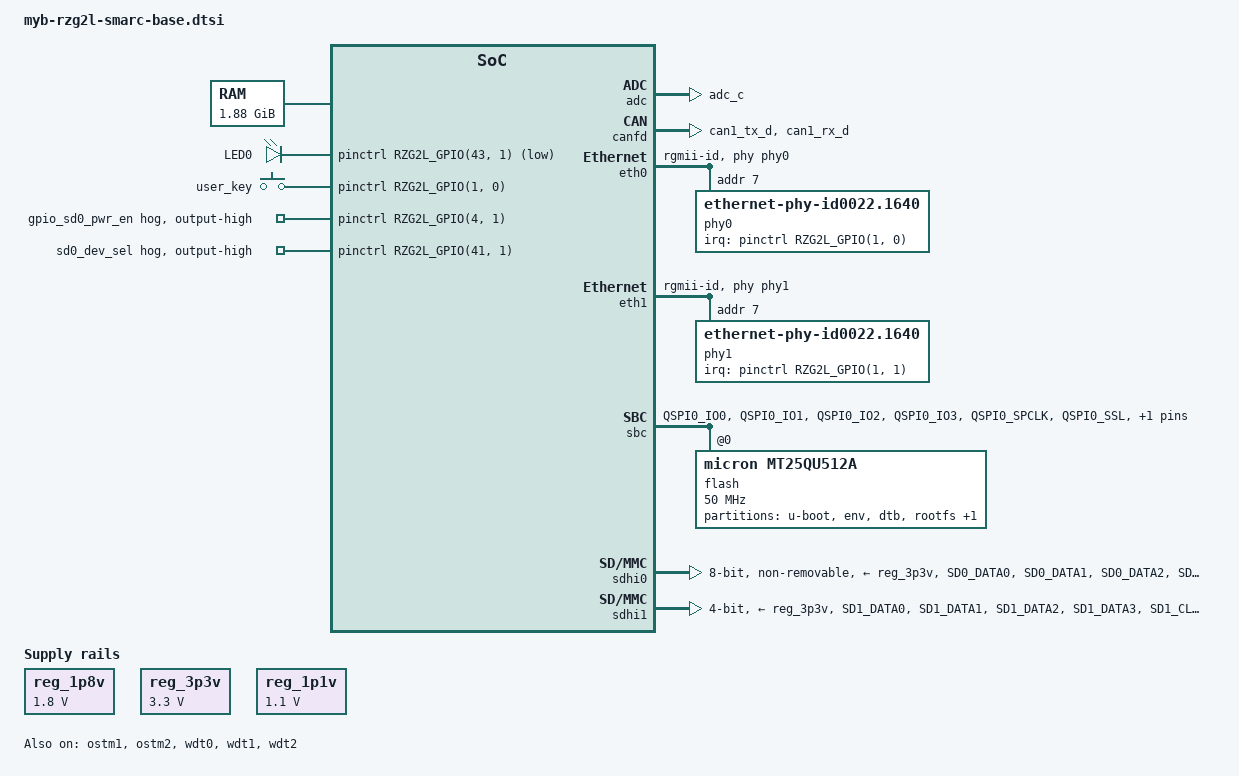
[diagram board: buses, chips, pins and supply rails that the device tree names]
// SPDX-License-Identifier: (GPL-2.0-only OR BSD-2-Clause)
/*
 * Device Tree Source for the RZ/{G2L,V2L} SMARC SOM common parts
 *
 * Copyright (C) 2022 MYiR Electronics Corp.
 */

#include <dt-bindings/gpio/gpio.h>
#include <dt-bindings/pinctrl/rzg2l-pinctrl.h>
#include <dt-bindings/input/input.h>

/* Select function support POEGD (1: enabled, 0 : disabled) */

/ {
	aliases {
		ethernet0 = &eth0;
		ethernet1 = &eth1;
	};

	chosen {
		bootargs = "ignore_loglevel rw root=/dev/nfs ip=on";
	};

	memory@48000000 {
		device_type = "memory";
		/* first 128MB is reserved for secure area. */
		reg = <0x0 0x48000000 0x0 0x78000000>;
	};

	reserved-memory {
		#address-cells = <2>;
		#size-cells = <2>;
		ranges;

		global_cma: linux,cma@58000000 {
			compatible = "shared-dma-pool";
			linux,cma-default;
			reusable;
			reg = <0x0 0x58000000 0x0 0x10000000>;
		};
		mmp_reserved: linux,multimedia {
			compatible = "shared-dma-pool";
			reusable;
			reg = <0x00000000 0x68000000 0x0 0x8000000>;
		};
	};

	mmngr {
		compatible = "renesas,mmngr";
		memory-region = <&mmp_reserved>;
	};

	mmngrbuf {
		compatible = "renesas,mmngrbuf";
	};

	vspm_if {
		compatible = "renesas,vspm_if";
	};

	reg_1p8v: regulator0 {
		compatible = "regulator-fixed";
		regulator-name = "fixed-1.8V";
		regulator-min-microvolt = <1800000>;
		regulator-max-microvolt = <1800000>;
		regulator-boot-on;
		regulator-always-on;
	};

	reg_3p3v: regulator1 {
		compatible = "regulator-fixed";
		regulator-name = "fixed-3.3V";
		regulator-min-microvolt = <3300000>;
		regulator-max-microvolt = <3300000>;
		regulator-boot-on;
		regulator-always-on;
	};

	reg_1p1v: regulator-vdd-core {
		compatible = "regulator-fixed";
		regulator-name = "fixed-1.1V";
		regulator-min-microvolt = <1100000>;
		regulator-max-microvolt = <1100000>;
		regulator-boot-on;
		regulator-always-on;
	};

	leds {
		compatible = "gpio-leds";

		led0 {
			gpios = <&pinctrl RZG2L_GPIO(43, 1) GPIO_ACTIVE_LOW>;
			label = "LED0";
			default-state = "on";
			linux,default-trigger = "heartbeat";
		};
	};

	keyboard {
		compatible = "gpio-keys";
		status = "okay";

		key-1 {
			gpios = <&pinctrl RZG2L_GPIO(1, 0) GPIO_ACTIVE_HIGH>;
			linux,code = <KEY_1>;
			label = "user_key";
			wakeup-source;
		};
	};


};

&adc {
	pinctrl-0 = <&adc_pins>;
	pinctrl-names = "default";
	status = "okay";

	/delete-node/ channel@4;
	/delete-node/ channel@5;
	/delete-node/ channel@6;
	/delete-node/ channel@7;
};

&canfd {
        pinctrl-0 = <&canfd1_pins>;
        pinctrl-names = "default";
        status = "okay";

        channel0 {
                status = "disabled";
        };

        channel1 {
                status = "okay";
        };
};

&eth0 {
	pinctrl-0 = <&eth0_pins>;
	pinctrl-names = "default";
	phy-handle = <&phy0>;
	phy-mode = "rgmii-id";
	status = "okay";

	phy0: ethernet-phy@7 {
		compatible = "ethernet-phy-id0022.1640",
			     "ethernet-phy-ieee802.3-c22";
		reg = <7>;
		rxc-skew-psec = <2400>;
		txc-skew-psec = <2400>;
		rxdv-skew-psec = <0>;
		txdv-skew-psec = <0>;
		rxd0-skew-psec = <0>;
		rxd1-skew-psec = <0>;
		rxd2-skew-psec = <0>;
		rxd3-skew-psec = <0>;
		txd0-skew-psec = <0>;
		txd1-skew-psec = <0>;
		txd2-skew-psec = <0>;
		txd3-skew-psec = <0>;

		interrupt-parent = <&pinctrl>;
		interrupts = <RZG2L_GPIO(1, 0) IRQ_TYPE_LEVEL_LOW>;
	};
};

&eth1 {
	pinctrl-0 = <&eth1_pins>;
	pinctrl-names = "default";
	phy-handle = <&phy1>;
	phy-mode = "rgmii-id";
	status = "okay";

	phy1: ethernet-phy@7 {
		compatible = "ethernet-phy-id0022.1640",
			     "ethernet-phy-ieee802.3-c22";
		reg = <7>;
		rxc-skew-psec = <2400>;
		txc-skew-psec = <2400>;
		rxdv-skew-psec = <0>;
		txdv-skew-psec = <0>;
		rxd0-skew-psec = <0>;
		rxd1-skew-psec = <0>;
		rxd2-skew-psec = <0>;
		rxd3-skew-psec = <0>;
		txd0-skew-psec = <0>;
		txd1-skew-psec = <0>;
		txd2-skew-psec = <0>;
		txd3-skew-psec = <0>;

		interrupt-parent = <&pinctrl>;
		interrupts = <RZG2L_GPIO(1, 1) IRQ_TYPE_LEVEL_LOW>;
	};
};

&extal_clk {
	clock-frequency = <24000000>;
};

&gpu {
	mali-supply = <&reg_1p1v>;
};

&ostm1 {
	status = "okay";
};

&ostm2 {
	status = "okay";
};

&pinctrl {

	adc_pins: adc {
			groups = "adc_c";
			function = "adc";
	};

	canfd1_pins: canfd1 {
			groups = "can1_tx_d", "can1_rx_d";
			function = "can1";
	};

	eth0_pins: eth0 {
		pinmux = <RZG2L_PORT_PINMUX(28, 1, 1)>, /* ET0_LINKSTA */
			 <RZG2L_PORT_PINMUX(27, 1, 1)>, /* ET0_MDC */
			 <RZG2L_PORT_PINMUX(28, 0, 1)>, /* ET0_MDIO */
			 <RZG2L_PORT_PINMUX(20, 0, 1)>, /* ET0_TXC */
			 <RZG2L_PORT_PINMUX(20, 1, 1)>, /* ET0_TX_CTL */
			 <RZG2L_PORT_PINMUX(20, 2, 1)>, /* ET0_TXD0 */
			 <RZG2L_PORT_PINMUX(21, 0, 1)>, /* ET0_TXD1 */
			 <RZG2L_PORT_PINMUX(21, 1, 1)>, /* ET0_TXD2 */
			 <RZG2L_PORT_PINMUX(22, 0, 1)>, /* ET0_TXD3 */
			 <RZG2L_PORT_PINMUX(24, 0, 1)>, /* ET0_RXC */
			 <RZG2L_PORT_PINMUX(24, 1, 1)>, /* ET0_RX_CTL */
			 <RZG2L_PORT_PINMUX(25, 0, 1)>, /* ET0_RXD0 */
			 <RZG2L_PORT_PINMUX(25, 1, 1)>, /* ET0_RXD1 */
			 <RZG2L_PORT_PINMUX(26, 0, 1)>, /* ET0_RXD2 */
			 <RZG2L_PORT_PINMUX(26, 1, 1)>; /* ET0_RXD3 */
	};

	eth1_pins: eth1 {
		pinmux = <RZG2L_PORT_PINMUX(37, 2, 1)>, /* ET1_LINKSTA */
			 <RZG2L_PORT_PINMUX(37, 0, 1)>, /* ET1_MDC */
			 <RZG2L_PORT_PINMUX(37, 1, 1)>, /* ET1_MDIO */
			 <RZG2L_PORT_PINMUX(29, 0, 1)>, /* ET1_TXC */
			 <RZG2L_PORT_PINMUX(29, 1, 1)>, /* ET1_TX_CTL */
			 <RZG2L_PORT_PINMUX(30, 0, 1)>, /* ET1_TXD0 */
			 <RZG2L_PORT_PINMUX(30, 1, 1)>, /* ET1_TXD1 */
			 <RZG2L_PORT_PINMUX(31, 0, 1)>, /* ET1_TXD2 */
			 <RZG2L_PORT_PINMUX(31, 1, 1)>, /* ET1_TXD3 */
			 <RZG2L_PORT_PINMUX(33, 1, 1)>, /* ET1_RXC */
			 <RZG2L_PORT_PINMUX(34, 0, 1)>, /* ET1_RX_CTL */
			 <RZG2L_PORT_PINMUX(34, 1, 1)>, /* ET1_RXD0 */
			 <RZG2L_PORT_PINMUX(35, 0, 1)>, /* ET1_RXD1 */
			 <RZG2L_PORT_PINMUX(35, 1, 1)>, /* ET1_RXD2 */
			 <RZG2L_PORT_PINMUX(36, 0, 1)>; /* ET1_RXD3 */
	};

	gpio-sd0-pwr-en-hog {
		gpio-hog;
		gpios = <RZG2L_GPIO(4, 1) GPIO_ACTIVE_HIGH>;
		output-high;
		line-name = "gpio_sd0_pwr_en";
	};

	qspi0_pins: qspi0 {
		qspi0-data {
			pins = "QSPI0_IO0", "QSPI0_IO1", "QSPI0_IO2", "QSPI0_IO3";
			power-source = <1800>;
		};

		qspi0-ctrl {
			pins = "QSPI0_SPCLK", "QSPI0_SSL", "QSPI_RESET#";
			power-source = <1800>;
		};
	};

	/*
	 * SD0 device selection is XOR between GPIO_SD0_DEV_SEL and SW1[2]
	 * The below switch logic can be used to select the device between
	 * eMMC and microSD, after setting GPIO_SD0_DEV_SEL to high in DT.
	 * SW1[2] should be at position 2/OFF to enable 64 GB eMMC
	 * SW1[2] should be at position 3/ON to enable uSD card CN3
	 */
	sd0-dev-sel-hog {
		gpio-hog;
		gpios = <RZG2L_GPIO(41, 1) GPIO_ACTIVE_HIGH>;
		output-high;
		line-name = "sd0_dev_sel";
	};

	sdhi0_emmc_pins: sd0emmc {
		sd0_emmc_data {
			pins = "SD0_DATA0", "SD0_DATA1", "SD0_DATA2", "SD0_DATA3",
			       "SD0_DATA4", "SD0_DATA5", "SD0_DATA6", "SD0_DATA7";
			power-source = <1800>;
		};

		sd0_emmc_ctrl {
			pins = "SD0_CLK", "SD0_CMD";
			power-source = <1800>;
		};

		sd0_emmc_rst {
			pins = "SD0_RST#";
			power-source = <1800>;
		};
	};

	sdhi0_pins: sd0 {
		sd0_data {
			pins = "SD0_DATA0", "SD0_DATA1", "SD0_DATA2", "SD0_DATA3";
			power-source = <3300>;
		};

		sd0_ctrl {
			pins = "SD0_CLK", "SD0_CMD";
			power-source = <3300>;
		};
	};

	sdhi0_pins_uhs: sd0_uhs {
		sd0_data_uhs {
			pins = "SD0_DATA0", "SD0_DATA1", "SD0_DATA2", "SD0_DATA3";
			power-source = <1800>;
		};

		sd0_ctrl_uhs {
			pins = "SD0_CLK", "SD0_CMD";
			power-source = <1800>;
		};
	};

	sdhi1_pins: sd1 {
		sd1_data {
			pins = "SD1_DATA0", "SD1_DATA1", "SD1_DATA2", "SD1_DATA3";
			power-source  = <3300>;
		};

		sd1_ctrl {
			pins = "SD1_CLK", "SD1_CMD";
			power-source  = <3300>;
		};

		sd1_mux {
			groups = "sdhi1_cd_b";
			function = "sdhi1";
		};
	};

	sdhi1_pins_uhs: sd1_uhs {
		sd1_data_uhs {
			pins = "SD1_DATA0", "SD1_DATA1", "SD1_DATA2", "SD1_DATA3";
			power-source  = <1800>;
		};

		sd1_ctrl_uhs {
			pins = "SD1_CLK", "SD1_CMD";
			power-source  = <1800>;
		};

		sd1_mux_uhs {
			groups = "sdhi1_cd_b";
			function = "sdhi1";
		};
	};
};

&sbc {
	pinctrl-0 = <&qspi0_pins>;
	pinctrl-names = "default";
	status = "okay";

	flash@0 {
		compatible = "micron,mt25qu512a", "jedec,spi-nor";
		reg = <0>;
		m25p,fast-read;
		spi-max-frequency = <50000000>;
		spi-rx-bus-width = <4>;
		spi-tx-bus-width = <4>;

		partitions {
			compatible = "fixed-partitions";
			#address-cells = <1>;
			#size-cells = <1>;

			partition@0000000 {
				label = "u-boot";
				reg = <0x00000000 0x80000>;
				read-only;
			};
			partition@80000 {
				label = "env";
				reg = <0x00080000 0x40000>;
				read-only;
			};
			partition@C0000 {
				label = "dtb";
				reg = <0x000C0000 0x40000>;
				read-only;
			};
			partition@800000 {
				label = "rootfs";
				/* 16MB @ 8MB offset in SPI Flash */
				reg = <0x00800000 0x01000000>;
			};
			partition@2000000 {
				label = "test-area";
				reg = <0x02000000 0x00100000>;
			};
		};
	};
};



/*EMMC*/
&sdhi0 {
	pinctrl-0 = <&sdhi0_emmc_pins>;
	pinctrl-1 = <&sdhi0_emmc_pins>;
	pinctrl-names = "default", "state_uhs";

	vmmc-supply = <&reg_3p3v>;
	vqmmc-supply = <&reg_1p8v>;
	bus-width = <8>;
	mmc-hs200-1_8v;
	non-removable;
	fixed-emmc-driver-type = <1>;
	status = "okay";
};

/*sdcard*/
&sdhi1 {
	pinctrl-0 = <&sdhi1_pins>;
	pinctrl-1 = <&sdhi1_pins_uhs>;
	pinctrl-names = "default", "state_uhs";
	vmmc-supply = <&reg_3p3v>;
	cd-gpios = <&pinctrl RZG2L_GPIO(42, 0) GPIO_ACTIVE_LOW>;
	bus-width = <4>;
	sd-uhs-sdr50;
	sd-uhs-sdr104;
	disable-wp;
	status = "okay";
};

&wdt0 {
	status = "okay";
	timeout-sec = <60>;
};

&wdt1 {
	status = "okay";
	timeout-sec = <60>;
};

&wdt2 {
	status = "okay";
	timeout-sec = <60>;
};

&poegd {
	status = "disabled";
};

&gpt4 {
	pinctrl-names = "default";
	channel = "both_AB";
	status = "disabled";
};

&ehci0 {
	memory-region = <&global_cma>;
};

&ohci0 {
	memory-region = <&global_cma>;
};

&ehci1 {
	memory-region = <&global_cma>;
};

&ohci1 {
	memory-region = <&global_cma>;
};
